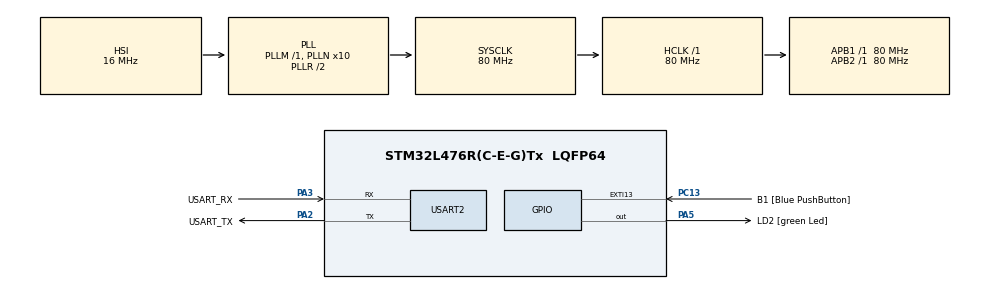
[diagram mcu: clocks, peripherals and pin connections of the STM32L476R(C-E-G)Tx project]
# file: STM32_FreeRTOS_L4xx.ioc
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FREERTOS.Tasks01=defaultTask,0,128,StartDefaultTask,Default,NULL,Dynamic,NULL,NULL
FREERTOS.configCHECK_FOR_STACK_OVERFLOW=1
FREERTOS.configUSE_IDLE_HOOK=0
FREERTOS.configUSE_MALLOC_FAILED_HOOK=0
FREERTOS.configUSE_TICK_HOOK=0
Mcu.Family=STM32L4
Mcu.Name=STM32L476R(C-E-G)Tx
Mcu.Package=LQFP64
NVIC.EXTI15_10_IRQn=true\:5\:0\:false\:false\:true\:true\:true\:true\:true
NVIC.PriorityGroup=NVIC_PRIORITYGROUP_4
PA13\ (JTMS-SWDIO).GPIO_Label=TMS
PA13\ (JTMS-SWDIO).Mode=Serial_Wire
PA13\ (JTMS-SWDIO).Signal=SYS_JTMS-SWDIO
PA14\ (JTCK-SWCLK).GPIO_Label=TCK
PA14\ (JTCK-SWCLK).Mode=Serial_Wire
PA14\ (JTCK-SWCLK).Signal=SYS_JTCK-SWCLK
PA2.GPIO_Label=USART_TX
PA2.GPIO_Mode=GPIO_MODE_AF_PP
PA2.GPIO_PuPd=GPIO_NOPULL
PA2.GPIO_Speed=GPIO_SPEED_FREQ_VERY_HIGH
PA2.Mode=Asynchronous
PA2.Signal=USART2_TX
PA3.GPIO_Label=USART_RX
PA3.GPIO_Mode=GPIO_MODE_AF_PP
PA3.GPIO_PuPd=GPIO_NOPULL
PA3.GPIO_Speed=GPIO_SPEED_FREQ_VERY_HIGH
PA3.Mode=Asynchronous
PA3.Signal=USART2_RX
PA5.GPIO_Label=LD2 [green Led]
PA5.GPIO_ModeDefaultOutputPP=GPIO_MODE_OUTPUT_PP
PA5.GPIO_PuPd=GPIO_NOPULL
PA5.GPIO_Speed=GPIO_SPEED_FREQ_LOW
PA5.Signal=GPIO_Output
PB3\ (JTDO-TRACESWO).GPIO_Label=SWO
PB3\ (JTDO-TRACESWO).Signal=SYS_JTDO-SWO
PC13.GPIO_Label=B1 [Blue PushButton]
PC13.GPIO_ModeDefaultEXTI=GPIO_MODE_IT_FALLING
PC13.GPIO_PuPd=GPIO_NOPULL
PC13.Signal=GPXTI13
PC14-OSC32_IN\ (PC14).Signal=RCC_OSC32_IN
PC15-OSC32_OUT\ (PC15).Signal=RCC_OSC32_OUT
PH0-OSC_IN\ (PH0).Mode=HSE-External-Oscillator
PH0-OSC_IN\ (PH0).Signal=RCC_OSC_IN
PH1-OSC_OUT\ (PH1).Mode=HSE-External-Oscillator
PH1-OSC_OUT\ (PH1).Signal=RCC_OSC_OUT
ProjectManager.HeapSize=0x200
ProjectManager.StackSize=0x400
ProjectManager.TargetToolchain=STM32CubeIDE
RCC.ADCFreq_Value=64000000
RCC.AHBFreq_Value=80000000
RCC.APB1Freq_Value=80000000
RCC.APB1TimFreq_Value=80000000
RCC.APB2Freq_Value=80000000
RCC.APB2TimFreq_Value=80000000
RCC.CortexFreq_Value=80000000
RCC.HCLKFreq_Value=80000000
RCC.HSE_VALUE=8000000
RCC.HSI_VALUE=16000000
RCC.LSE_VALUE=32768
RCC.MSI_VALUE=4000000
RCC.PLLN=10
RCC.PLLSourceVirtual=RCC_PLLSOURCE_HSI
RCC.PREFETCH_ENABLE=1
RCC.SYSCLKFreq_VALUE=80000000
RCC.SYSCLKSource=RCC_SYSCLKSOURCE_PLLCLK
RCC.USBFreq_Value=64000000
RCC.VCOOutputFreq_Value=160000000
USART2.VirtualMode-Asynchronous=VM_ASYNC
VP_FREERTOS_VS_CMSIS_V1.Mode=CMSIS_V1
board=NUCLEO-L476RG

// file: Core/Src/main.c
/* USER CODE BEGIN Header */
/**
  ******************************************************************************
  * @file           : main.c
  * @brief          : Main program body
  ******************************************************************************
  * @attention
  *
  * Copyright (c) 2025 STMicroelectronics.
  * All rights reserved.
  *
  * This software is licensed under terms that can be found in the LICENSE file
  * in the root directory of this software component.
  * If no LICENSE file comes with this software, it is provided AS-IS.
  *
  ******************************************************************************
  */
/* USER CODE END Header */
#include "main.h"
#include "cmsis_os.h"

UART_HandleTypeDef huart2;

osThreadId defaultTaskHandle;
/* USER CODE BEGIN PV */
TaskHandle_t xTaskHandle1 = {0};
TaskHandle_t xTaskHandle2 = {0};
uint8_t switchState = RESET;
/* USER CODE END PV */

void SystemClock_Config(void);
static void MX_GPIO_Init(void);
static void MX_USART2_UART_Init(void);
void StartDefaultTask(void const * argument);

/* USER CODE BEGIN PFP */
int _write(int file,char *ptr,int len)
{
    int i=0;
    for(i=0;i<len;i++)
    	ITM_SendChar((*ptr++));
    return len;
}
/* USER CODE END PFP */

/* USER CODE BEGIN 0 */
/*
 * Function Name : void task1Handle(void *para)
 * Description   : This function to control LED depending on button notification
 */
void task1LEDHandle(void *para)
{
	uint32_t taskPrio1 =RESET,taskPrio2 =RESET;
	printf("Task 1 Running \nTask 1 Priority %ld\n",uxTaskPriorityGet(xTaskHandle1));
	/* Infinite loop */
	while(1U)
	{
		if(switchState == RESET)
		{
			HAL_GPIO_TogglePin(GPIOA, GPIO_PIN_5);

		}
		else
		{
			switchState = RESET;
			taskPrio1 = uxTaskPriorityGet(xTaskHandle1);
			taskPrio2 = uxTaskPriorityGet(xTaskHandle2);
			printf("Task 1 Priority %ld\n",uxTaskPriorityGet(xTaskHandle1));
			printf("Task 2 Priority %ld\n",uxTaskPriorityGet(xTaskHandle2));
			vTaskPrioritySet(xTaskHandle1, taskPrio2);
			vTaskPrioritySet(xTaskHandle2, taskPrio1);
		}
	}
}
/*
 * Function Name :  void task2Handle(void *para)
 * Description   :  This Function to update button status
 */
void task2SwitchHandle(void *para)
{
	uint32_t taskPrio1 =RESET,taskPrio2 =RESET;
	printf("Task 2 Running \nTask 2 Priority %ld\n",uxTaskPriorityGet(xTaskHandle2));
	while(1U)
	{
		if(switchState == RESET)
		{
			HAL_GPIO_TogglePin(GPIOA, GPIO_PIN_5);
		}
		else
		{
			switchState = RESET;
			taskPrio1 = uxTaskPriorityGet(xTaskHandle1);
			taskPrio2 = uxTaskPriorityGet(xTaskHandle2);
			printf("Task 1 Priority %ld\n",uxTaskPriorityGet(xTaskHandle1));
			printf("Task 2 Priority %ld\n",uxTaskPriorityGet(xTaskHandle2));
			vTaskPrioritySet(xTaskHandle1, taskPrio2);
			vTaskPrioritySet(xTaskHandle2, taskPrio1);

		}
	}
}
void EXTI15_10_IRQHandler(void)
{
	switchState = SET;
	HAL_GPIO_EXTI_IRQHandler(B1_Pin);
}
/* USER CODE END 0 */

int main(void)
{

  /* MCU Configuration--------------------------------------------------------*/

  /* Reset of all peripherals, Initializes the Flash interface and the Systick. */
  HAL_Init();

  /* Configure the system clock */
  SystemClock_Config();

  /* Initialize all configured peripherals */
  MX_GPIO_Init();
  MX_USART2_UART_Init();

  /* Create the thread(s) */
  /* definition and creation of defaultTask */
  osThreadDef(defaultTask, StartDefaultTask, osPriorityNormal, 0, 128);
  defaultTaskHandle = osThreadCreate(osThread(defaultTask), NULL);

  /* USER CODE BEGIN RTOS_THREADS */
  /* add threads, ... */
  /* Function call to create task 1*/
  xTaskCreate(task1LEDHandle, "LED Blink ", configMINIMAL_STACK_SIZE , NULL, 1, &xTaskHandle1);
  /* Function call to create task 2*/
   xTaskCreate(task2SwitchHandle, "Switch State ", configMINIMAL_STACK_SIZE , NULL, 2, &xTaskHandle2);
  /* USER CODE END RTOS_THREADS */

  /* Start scheduler */
  osKernelStart();

  /* We should never get here as control is now taken by the scheduler */

  /* Infinite loop */
  while (1)
  {

  }
}

void SystemClock_Config(void)
{
  RCC_OscInitTypeDef RCC_OscInitStruct = {0};
  RCC_ClkInitTypeDef RCC_ClkInitStruct = {0};

  /** Configure the main internal regulator output voltage
  */
  if (HAL_PWREx_ControlVoltageScaling(PWR_REGULATOR_VOLTAGE_SCALE1) != HAL_OK)
  {
    Error_Handler();
  }

  /** Initializes the RCC Oscillators according to the specified parameters
  * in the RCC_OscInitTypeDef structure.
  */
  RCC_OscInitStruct.OscillatorType = RCC_OSCILLATORTYPE_HSI;
  RCC_OscInitStruct.HSIState = RCC_HSI_ON;
  RCC_OscInitStruct.HSICalibrationValue = RCC_HSICALIBRATION_DEFAULT;
  RCC_OscInitStruct.PLL.PLLState = RCC_PLL_ON;
  RCC_OscInitStruct.PLL.PLLSource = RCC_PLLSOURCE_HSI;
  RCC_OscInitStruct.PLL.PLLM = 1;
  RCC_OscInitStruct.PLL.PLLN = 10;
  RCC_OscInitStruct.PLL.PLLP = RCC_PLLP_DIV7;
  RCC_OscInitStruct.PLL.PLLQ = RCC_PLLQ_DIV2;
  RCC_OscInitStruct.PLL.PLLR = RCC_PLLR_DIV2;
  if (HAL_RCC_OscConfig(&RCC_OscInitStruct) != HAL_OK)
  {
    Error_Handler();
  }

  /** Initializes the CPU, AHB and APB buses clocks
  */
  RCC_ClkInitStruct.ClockType = RCC_CLOCKTYPE_HCLK|RCC_CLOCKTYPE_SYSCLK
                              |RCC_CLOCKTYPE_PCLK1|RCC_CLOCKTYPE_PCLK2;
  RCC_ClkInitStruct.SYSCLKSource = RCC_SYSCLKSOURCE_PLLCLK;
  RCC_ClkInitStruct.AHBCLKDivider = RCC_SYSCLK_DIV1;
  RCC_ClkInitStruct.APB1CLKDivider = RCC_HCLK_DIV1;
  RCC_ClkInitStruct.APB2CLKDivider = RCC_HCLK_DIV1;

  if (HAL_RCC_ClockConfig(&RCC_ClkInitStruct, FLASH_LATENCY_4) != HAL_OK)
  {
    Error_Handler();
  }
}

static void MX_USART2_UART_Init(void)
{

  huart2.Instance = USART2;
  huart2.Init.BaudRate = 115200;
  huart2.Init.WordLength = UART_WORDLENGTH_8B;
  huart2.Init.StopBits = UART_STOPBITS_1;
  huart2.Init.Parity = UART_PARITY_NONE;
  huart2.Init.Mode = UART_MODE_TX_RX;
  huart2.Init.HwFlowCtl = UART_HWCONTROL_NONE;
  huart2.Init.OverSampling = UART_OVERSAMPLING_16;
  huart2.Init.OneBitSampling = UART_ONE_BIT_SAMPLE_DISABLE;
  huart2.AdvancedInit.AdvFeatureInit = UART_ADVFEATURE_NO_INIT;
  if (HAL_UART_Init(&huart2) != HAL_OK)
  {
    Error_Handler();
  }

}

static void MX_GPIO_Init(void)
{
  GPIO_InitTypeDef GPIO_InitStruct = {0};

  /* GPIO Ports Clock Enable */
  __HAL_RCC_GPIOC_CLK_ENABLE();
  __HAL_RCC_GPIOH_CLK_ENABLE();
  __HAL_RCC_GPIOA_CLK_ENABLE();
  __HAL_RCC_GPIOB_CLK_ENABLE();

  /*Configure GPIO pin Output Level */
  HAL_GPIO_WritePin(LD2_GPIO_Port, LD2_Pin, GPIO_PIN_RESET);

  /*Configure GPIO pin : B1_Pin */
  GPIO_InitStruct.Pin = B1_Pin;
  GPIO_InitStruct.Mode = GPIO_MODE_IT_FALLING;
  GPIO_InitStruct.Pull = GPIO_NOPULL;
  HAL_GPIO_Init(B1_GPIO_Port, &GPIO_InitStruct);

  /*Configure GPIO pin : LD2_Pin */
  GPIO_InitStruct.Pin = LD2_Pin;
  GPIO_InitStruct.Mode = GPIO_MODE_OUTPUT_PP;
  GPIO_InitStruct.Pull = GPIO_NOPULL;
  GPIO_InitStruct.Speed = GPIO_SPEED_FREQ_LOW;
  HAL_GPIO_Init(LD2_GPIO_Port, &GPIO_InitStruct);

  /* EXTI interrupt init*/
  HAL_NVIC_SetPriority(EXTI15_10_IRQn, 5, 0);
  HAL_NVIC_EnableIRQ(EXTI15_10_IRQn);

}

void StartDefaultTask(void const * argument)
{
  for(;;)
  {
    osDelay(1);
  }
}

void Error_Handler(void)
{
  __disable_irq();
  while (1)
  {
  }
}
